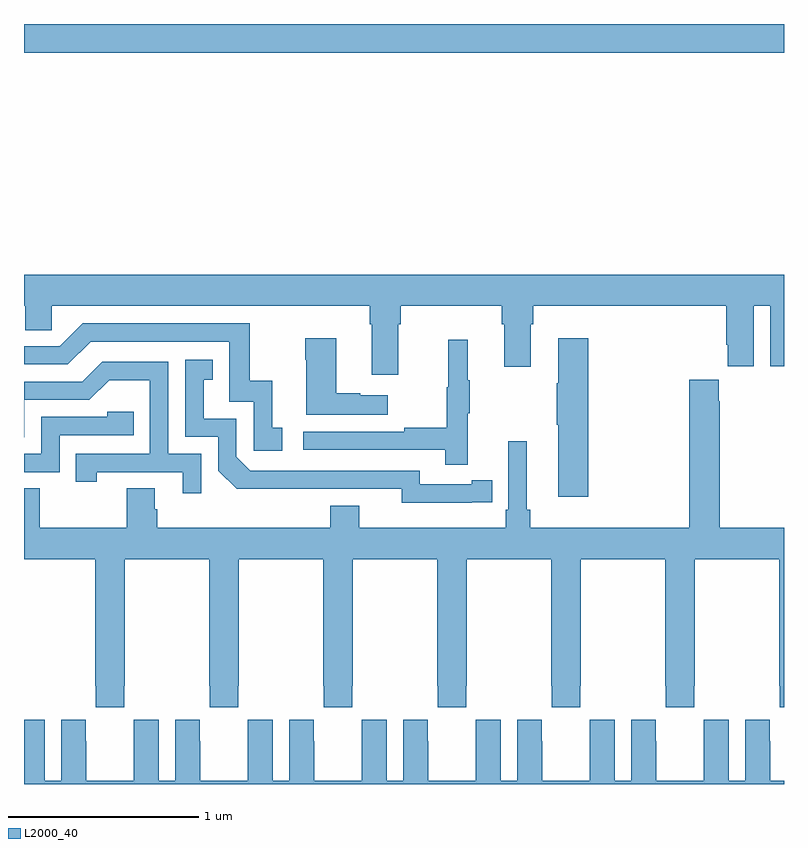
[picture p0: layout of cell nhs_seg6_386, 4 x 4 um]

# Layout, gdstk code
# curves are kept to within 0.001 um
import gdstk
lib = gdstk.Library(unit=1e-6, precision=1e-09)
def R(c, l, rs):  # rectangles x0, y0, x1, y1
    for r in rs: c.add(gdstk.rectangle(r[:2], r[2:], *l))
def P(c, l, *ps):  # polygons
    for p in ps: c.add(gdstk.Polygon(p, *l))
L2000_40 = (2000, 40)

nhs_seg6_386 = lib.new_cell('nhs_seg6_386')
R(nhs_seg6_386, L2000_40, [(133,935.348,137,935.5)])
P(nhs_seg6_386, L2000_40, [(134.971,933.92),(134.984,933.92),(134.984,934.016),(135.515,934.016),(135.515,933.92),(135.527,933.92),(135.527,933.696),(135.667,933.696),(135.667,933.92),(135.68,933.92),(135.68,934.016),(136.697,934.016),(136.697,933.811),(136.703,933.811),(136.703,933.699),(136.84,933.699),(136.84,934.016),(136.928,934.016),(136.928,933.699),(137,933.699),(137,934.18),(133,934.18),(133,934.016),(133.007,934.016),(133.007,933.889),(133.146,933.889),(133.146,934.016),(134.819,934.016),(134.819,933.92),(134.831,933.92),(134.831,933.654),(134.971,933.654)],
  [(134.359,933.375),(134.306,933.375),(134.306,933.622),(134.188,933.622),(134.188,933.924),(133.308,933.924),(133.188,933.804),(133,933.804),(133,933.708),(133.23,933.708),(133.35,933.828),(134.079,933.828),(134.079,933.513),(134.208,933.513),(134.208,933.255),(134.359,933.255)],
  [(134.914,933.547),(134.771,933.547),(134.771,933.557),(134.644,933.557),(134.644,933.847),(134.479,933.847),(134.479,933.734),(134.486,933.734),(134.486,933.443),(134.914,933.443)],
  [(135.971,933.847),(135.812,933.847),(135.812,933.608),(135.805,933.608),(135.805,933.391),(135.812,933.391),(135.812,933.012),(135.971,933.012)],
  [(135.335,933.451),(135.346,933.451),(135.346,933.625),(135.335,933.625),(135.335,933.838),(135.232,933.838),(135.232,933.588),(135.225,933.588),(135.225,933.374),(135.001,933.374),(135.001,933.354),(134.469,933.354),(134.469,933.258),(135.217,933.258),(135.217,933.18),(135.335,933.18)],
  [(135.356,932.982),(135.464,932.982),(135.464,933.098),(135.356,933.098),(135.356,933.078),(135.084,933.078),(135.084,933.15),(134.19,933.15),(134.118,933.222),(134.118,933.423),(133.945,933.423),(133.945,933.627),(133.994,933.627),(133.994,933.733),(133.848,933.733),(133.848,933.327),(134.022,933.327),(134.022,933.15),(134.12,933.053),(134.988,933.054),(134.988,932.981)],
  [(133.932,933.237),(133.758,933.237),(133.758,933.723),(133.412,933.723),(133.307,933.618),(133,933.618),(133,933.324),(133.002,933.324),(133.002,933.522),(133.344,933.522),(133.448,933.626),(133.662,933.626),(133.662,933.237),(133.273,933.237),(133.273,933.09),(133.384,933.09),(133.384,933.141),(133.835,933.141),(133.835,933.03),(133.932,933.03)],
  [(133.7,932.946),(133.687,932.946),(133.687,933.056),(133.54,933.056),(133.54,932.848),(133.083,932.848),(133.083,933.056),(133,933.056),(133,932.684),(133.375,932.684),(133.375,932.017),(133.377,932.017),(133.377,931.905),(133.527,931.905),(133.527,932.017),(133.53,932.017),(133.53,932.684),(133.975,932.684),(133.975,932.017),(133.977,932.017),(133.977,931.905),(134.127,931.905),(134.127,932.017),(134.13,932.017),(134.13,932.684),(134.575,932.684),(134.575,932.017),(134.577,932.017),(134.577,931.905),(134.727,931.905),(134.727,932.017),(134.73,932.017),(134.73,932.684),(135.175,932.684),(135.175,932.017),(135.177,932.017),(135.177,931.905),(135.327,931.905),(135.327,932.017),(135.33,932.017),(135.33,932.684),(135.775,932.684),(135.775,932.017),(135.777,932.017),(135.777,931.905),(135.927,931.905),(135.927,932.017),(135.93,932.017),(135.93,932.684),(136.375,932.684),(136.375,932.017),(136.377,932.017),(136.377,931.905),(136.527,931.905),(136.527,932.017),(136.53,932.017),(136.53,932.684),(136.975,932.684),(136.975,932.017),(136.977,932.017),(136.977,931.905),(137,931.905),(137,932.848),(136.662,932.848),(136.662,933.515),(136.657,933.515),(136.657,933.628),(136.502,933.628),(136.502,932.848),(135.665,932.848),(135.665,932.944),(135.646,932.944),(135.646,933.304),(135.549,933.304),(135.549,932.944),(135.536,932.944),(135.536,932.848),(134.764,932.848),(134.764,932.965),(134.612,932.965),(134.612,932.848),(133.7,932.848)],
  [(133.188,933.336),(133.577,933.336),(133.577,933.459),(133.437,933.459),(133.437,933.432),(133.092,933.432),(133.092,933.237),(133,933.237),(133,933.141),(133.188,933.141)],
  [(134.308,931.837),(134.178,931.837),(134.178,931.724),(134.177,931.724),(134.177,931.516),(133.927,931.516),(133.927,931.724),(133.926,931.724),(133.926,931.837),(133.796,931.837),(133.796,931.516),(133.708,931.516),(133.708,931.837),(133.578,931.837),(133.578,931.724),(133.577,931.724),(133.577,931.516),(133.327,931.516),(133.327,931.724),(133.326,931.724),(133.326,931.837),(133.196,931.837),(133.196,931.516),(133.108,931.516),(133.108,931.837),(133,931.837),(133,931.5),(137,931.5),(137,931.516),(136.927,931.516),(136.927,931.724),(136.926,931.724),(136.926,931.837),(136.796,931.837),(136.796,931.516),(136.708,931.516),(136.708,931.837),(136.578,931.837),(136.578,931.724),(136.577,931.724),(136.577,931.516),(136.327,931.516),(136.327,931.724),(136.326,931.724),(136.326,931.837),(136.196,931.837),(136.196,931.516),(136.108,931.516),(136.108,931.837),(135.978,931.837),(135.978,931.724),(135.977,931.724),(135.977,931.516),(135.727,931.516),(135.727,931.724),(135.726,931.724),(135.726,931.837),(135.596,931.837),(135.596,931.516),(135.508,931.516),(135.508,931.837),(135.378,931.837),(135.378,931.724),(135.377,931.724),(135.377,931.516),(135.127,931.516),(135.127,931.724),(135.126,931.724),(135.126,931.837),(134.996,931.837),(134.996,931.516),(134.908,931.516),(134.908,931.837),(134.778,931.837),(134.778,931.724),(134.777,931.724),(134.777,931.516),(134.527,931.516),(134.527,931.724),(134.526,931.724),(134.526,931.837),(134.396,931.837),(134.396,931.516),(134.308,931.516)])

lib.write_gds('nhs_seg6_386.gds')
